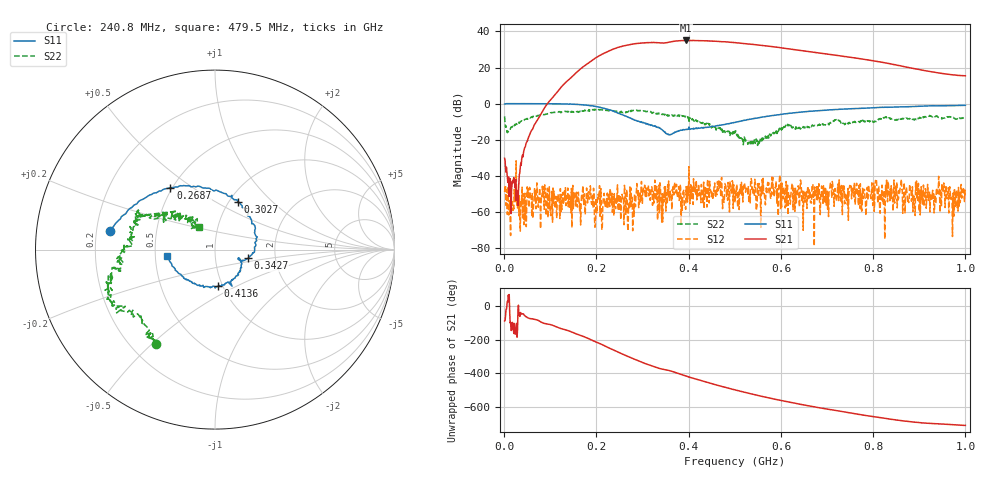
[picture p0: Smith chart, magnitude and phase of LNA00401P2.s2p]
! Created with skrf 1.9.0 (http://scikit-rf.org).
# Hz S RI R 50.0
!freq ReS11 ImS11 ReS21 ImS21 ReS12 ImS12 ReS22 ImS22
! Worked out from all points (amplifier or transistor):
!   1001 points, 1 MHz to 1 GHz, reference 50 ohm
!   highest |S21| = 35.0 dB at 394.6 MHz (marker M1)
!   |S21| within 3 dB of that: 259.8 MHz to 568.2 MHz (308.4 MHz wide, 74.5 % of centre)
!   unconditionally stable (mu >= 1): 245.9 MHz to 287.5 MHz; 288 MHz to 400.3 MHz; 401 MHz to end of sweep (the widest 3 of 40)
!   at 166.8 MHz: K = 2.00, MAG = 32.2 dB, |S12| = -56.4 dB
!   at 500.5 MHz: K = 5.03, MAG = 34.4 dB, |S12| = -54.9 dB
!   at 1 GHz: K = 5.25, MAG = 23.3 dB, |S12| = -51.5 dB
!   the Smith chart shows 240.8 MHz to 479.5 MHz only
!   S11 on the Smith chart (normalised r, x): 240.8 MHz: 0.26, +0.08; 268.7 MHz: 0.49, +0.41; 302.7 MHz: 1.09, +0.64; 342.7 MHz: 1.44, -0.15; 413.6 MHz: 0.95, -0.41; 479.5 MHz: 0.58, -0.04
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1000000  0.9831 0.000553  0.00132 -0.0308  0.00284 0.00221  0.3322 0.2937
1.08892e8  0.5319 -0.844  -0.7809 -1.499  0.00182 0.00168  0.423 -0.3864
1.67833e8  -0.2131 -0.9099  -9.692 -0.6837  -0.00158 -0.00267  0.0214 -0.6309
2.08792e8  -0.6632 -0.4295  -15.71 15.69  -0.00278 -0.000179  -0.2117 -0.65
2.4076e8  -0.5824 0.1041  -2.539 33.91  -0.00136 0.000225  -0.3261 -0.5275
2.68732e8  -0.2483 0.3454  21.38 36.36  9.01e-05 0.000289  -0.4856 -0.3474
3.02698e8  0.1263 0.2664  44.66 17.33  -0.00373 0.000609  -0.5966 -0.1876
3.34666e8  0.2212 0.000254  47.87 -8.595  -0.00409 0.000298  -0.5267 -0.0328
3.42658e8  0.1836 -0.0489  46.08 -13.15  -0.00298 0.00118  -0.4981 0.00141
3.68632e8  0.1415 -0.0642  44.75 -29.54  0.003 0.00368  -0.4516 0.1653
3.94606e8  0.1 -0.1647  30.21 -47.44  0.00491 0.00119  -0.3807 0.1965
4.13587e8  0.016 -0.2048  15.46 -53.72  0.00109 0.00488  -0.2861 0.1995
4.45555e8  -0.1478 -0.1695  -8.837 -53.61  0.00647 0.00294  -0.2107 0.1812
4.79521e8  -0.2651 -0.0342  -29.64 -42.13  0.00525 -0.00212  -0.087 0.1254
5.005e8  -0.2925 0.0775  -37.81 -31.34  -0.0018 -1.06e-05  -0.1269 0.1211
5.4046e8  -0.2451 0.3011  -42.41 -9.733  0.00302 -0.000353  -0.0795 0.00057
5.88412e8  -0.0583 0.4796  -35.42 10.78  0.00461 0.000617  -0.1249 -0.0777
6.26374e8  0.1228 0.5419  -24.95 19.62  0.000206 -0.00115  -0.1954 -0.1188
6.67333e8  0.3179 0.5339  -13.64 23.05  0.00496 -0.000385  -0.2409 -0.0419
7.53247e8  0.6271 0.367  3.194 18.71  -0.0013 -0.00194  -0.2907 0.0237
8.34166e8  0.7844 0.1379  8.983 9.265  -0.00183 -0.00297  -0.4 0.0589
1e9  0.8105 -0.398  5.877 0.7001  -0.00101 -0.00247  -0.1717 0.3655
